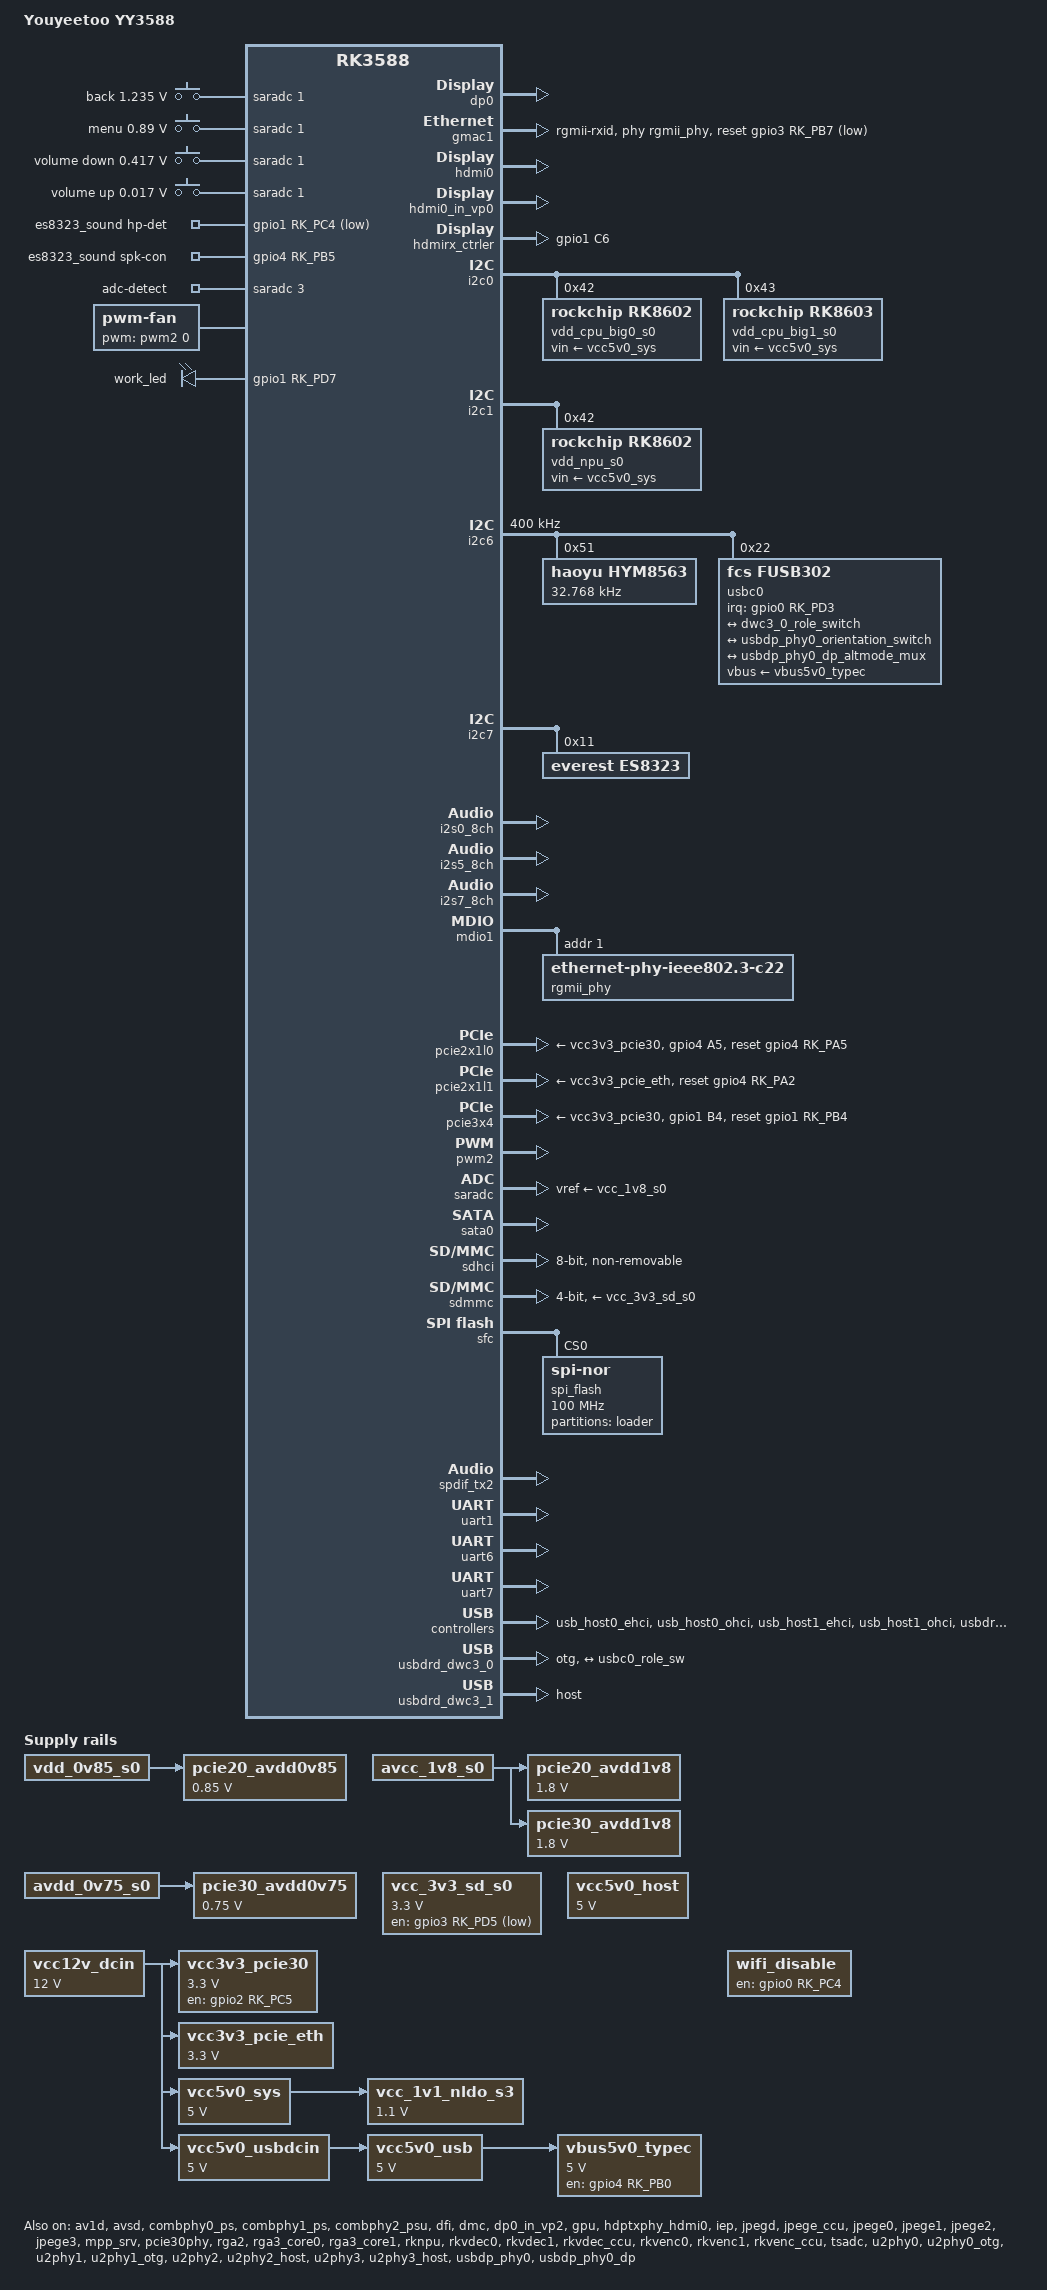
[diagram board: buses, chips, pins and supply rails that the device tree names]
// SPDX-License-Identifier: (GPL-2.0+ OR MIT)
/*
 * Copyright (c) 2021 Rockchip Electronics Co., Ltd.
 * Copyright (c) 2024 Youyeetoo
 */

/dts-v1/;

#include <dt-bindings/display/rockchip_vop.h>
#include <dt-bindings/gpio/gpio.h>
#include <dt-bindings/input/rk-input.h>
#include <dt-bindings/pinctrl/rockchip.h>
#include <dt-bindings/usb/pd.h>
#include "rk3588.dtsi"
#include "rk3588-rk806-single.dtsi"
#include "rk3588-linux.dtsi"

/ {
	model = "Youyeetoo YY3588";
	compatible = "youyeetoo,yy3588", "rockchip,rk3588";

	/delete-node/ chosen;

	aliases {
		ethernet0 = &r8125;
		ethernet1 = &gmac1;
		mmc0 = &sdhci;
		mmc1 = &sdmmc;
	};

	reserved-memory {
		#address-cells = <2>;
		#size-cells = <2>;
		ranges;

		/* Reserve 256MB memory for hdmirx-controller@fdee0000 */
		cma {
			compatible = "shared-dma-pool";
			linux,cma-default;
			reg = <0x0 (256 * 0x100000) 0x0 (256 * 0x100000)>;
			reusable;
		};
	};

	adc_keys: adc-keys {
		compatible = "adc-keys";
		io-channel-names = "buttons";
		io-channels = <&saradc 1>;
		keyup-threshold-microvolt = <1800000>;
		poll-interval = <100>;

		back-key {
			label = "back";
			linux,code = <KEY_BACK>;
			press-threshold-microvolt = <1235000>;
		};

		menu-key {
			label = "menu";
			linux,code = <KEY_MENU>;
			press-threshold-microvolt = <890000>;
		};

		vol-down-key {
			label = "volume down";
			linux,code = <KEY_VOLUMEDOWN>;
			press-threshold-microvolt = <417000>;
		};

		vol-up-key {
			label = "volume up";
			linux,code = <KEY_VOLUMEUP>;
			press-threshold-microvolt = <17000>;
		};
	};

	dp0_sound: dp0-sound {
		compatible = "rockchip,hdmi";
		rockchip,card-name = "rockchip-dp0";
		rockchip,codec = <&dp0 1>;
		rockchip,cpu = <&spdif_tx2>;
		rockchip,jack-det;
		rockchip,mclk-fs = <512>;
		status = "okay";
	};

	/* AUDIO - ES8388 chip, but only works with ES8323 driver */
	es8323_sound: es8323-sound {
		compatible = "rockchip,multicodecs-card";
		hp-det-gpio = <&gpio1 RK_PC4 GPIO_ACTIVE_LOW>;
		io-channel-names = "adc-detect";
		io-channels = <&saradc 3>;
		keyup-threshold-microvolt = <1800000>;
		pinctrl-names = "default";
		pinctrl-0 = <&hp_det>;
		poll-interval = <100>;
		rockchip,audio-routing =
			"Headphone", "LOUT2",
			"Headphone", "ROUT2",
			"Speaker", "LOUT1",
			"Speaker", "ROUT1",
			"Headphone", "Headphone Power",
			"Headphone", "Headphone Power",
			"Speaker", "Speaker Power",
			"Speaker", "Speaker Power",
			"LINPUT1", "Main Mic",
			"LINPUT2", "Main Mic",
			"RINPUT1", "Headset Mic",
			"RINPUT2", "Headset Mic";
		rockchip,card-name = "rockchip-es8323";
		rockchip,codec = <&es8323>;
		rockchip,cpu = <&i2s0_8ch>;
		rockchip,format = "i2s";
		rockchip,mclk-fs = <256>;
		spk-con-gpio = <&gpio4 RK_PB5 GPIO_ACTIVE_HIGH>;
		status = "okay";

		play-pause-key {
			label = "playpause";
			linux,code = <KEY_PLAYPAUSE>;
			press-threshold-microvolt = <2000>;
		};
	};

	fan: pwm-fan {
		compatible = "pwm-fan";
		#cooling-cells = <2>;
		cooling-levels = <0 50 100 150 200 255>;
		pwms = <&pwm2 0 50000 0>;
	};

	hdmi0_sound: hdmi0-sound {
		compatible = "rockchip,hdmi";
		rockchip,card-name = "rockchip-hdmi0";
		rockchip,codec = <&hdmi0>;
		rockchip,cpu = <&i2s5_8ch>;
		rockchip,jack-det;
		rockchip,mclk-fs = <128>;
		status = "okay";
	};

	hdmiin_sound: hdmiin-sound {
		compatible = "rockchip,hdmi";
		rockchip,bitclock-master = <&hdmirx_ctrler>;
		rockchip,card-name = "rockchip,hdmiin";
		rockchip,codec = <&hdmirx_ctrler 0>;
		rockchip,cpu = <&i2s7_8ch>;
		rockchip,format = "i2s";
		rockchip,frame-master = <&hdmirx_ctrler>;
		rockchip,jack-det;
		rockchip,mclk-fs = <128>;
	};

	leds: gpio-leds {
		compatible = "gpio-leds";
		pinctrl-names = "default";
		pinctrl-0 = <&leds_rgb>;

		work_led {
			gpios = <&gpio1 RK_PD7 GPIO_ACTIVE_HIGH>;
			label = "work_led";
			linux,default-trigger = "heartbeat";
		};
	};

	pcie20_avdd0v85: pcie20-avdd0v85 {
		compatible = "regulator-fixed";
		regulator-always-on;
		regulator-boot-on;
		regulator-max-microvolt = <850000>;
		regulator-min-microvolt = <850000>;
		regulator-name = "pcie20_avdd0v85";
		vin-supply = <&vdd_0v85_s0>;
	};

	pcie20_avdd1v8: pcie20-avdd1v8 {
		compatible = "regulator-fixed";
		regulator-always-on;
		regulator-boot-on;
		regulator-max-microvolt = <1800000>;
		regulator-min-microvolt = <1800000>;
		regulator-name = "pcie20_avdd1v8";
		vin-supply = <&avcc_1v8_s0>;
	};

	pcie30_avdd0v75: pcie30-avdd0v75 {
		compatible = "regulator-fixed";
		regulator-always-on;
		regulator-boot-on;
		regulator-max-microvolt = <750000>;
		regulator-min-microvolt = <750000>;
		regulator-name = "pcie30_avdd0v75";
		vin-supply = <&avdd_0v75_s0>;
	};

	pcie30_avdd1v8: pcie30-avdd1v8 {
		compatible = "regulator-fixed";
		regulator-always-on;
		regulator-boot-on;
		regulator-max-microvolt = <1800000>;
		regulator-min-microvolt = <1800000>;
		regulator-name = "pcie30_avdd1v8";
		vin-supply = <&avcc_1v8_s0>;
	};

	vbus5v0_typec: vbus5v0-typec {
		compatible = "regulator-fixed";
		enable-active-high;
		gpio = <&gpio4 RK_PB0 GPIO_ACTIVE_HIGH>;
		pinctrl-names = "default";
		pinctrl-0 = <&typec5v_pwren>;
		regulator-max-microvolt = <5000000>;
		regulator-min-microvolt = <5000000>;
		regulator-name = "vbus5v0_typec";
		vin-supply = <&vcc5v0_usb>;
	};

	vcc_1v1_nldo_s3: vcc-1v1-nldo-s3 {
		compatible = "regulator-fixed";
		regulator-always-on;
		regulator-boot-on;
		regulator-max-microvolt = <1100000>;
		regulator-min-microvolt = <1100000>;
		regulator-name = "vcc_1v1_nldo_s3";
		vin-supply = <&vcc5v0_sys>;
	};

	vcc_3v3_sd_s0: vcc-3v3-sd-s0 {
		compatible = "regulator-fixed";
		enable-active-low;
		gpios = <&gpio3 RK_PD5 GPIO_ACTIVE_LOW>;
		pinctrl-names = "default";
		pinctrl-0 = <&sdmmc_pwr>;
		regulator-max-microvolt = <3300000>;
		regulator-min-microvolt = <3300000>;
		regulator-name = "vcc_3v3_sd_s0";
	};

	vcc3v3_pcie30: vcc3v3-pcie30 {
		compatible = "regulator-fixed";
		enable-active-high;
		gpios = <&gpio2 RK_PC5 GPIO_ACTIVE_HIGH>;
		regulator-max-microvolt = <3300000>;
		regulator-min-microvolt = <3300000>;
		regulator-name = "vcc3v3_pcie30";
		startup-delay-us = <5000>;
		vin-supply = <&vcc12v_dcin>;
	};

	vcc3v3_pcie_eth: vcc3v3-pcie-eth {
		compatible = "regulator-fixed";
		/* NOTE: GPIO3_PB4 conflicts with gmac1_txd1 pin!
		 * Removed GPIO control - regulator is always-on anyway.
		 * If PCIe ethernet stops working, the hardware may need
		 * a different GPIO or external control for this supply.
		 */
		regulator-always-on;
		regulator-boot-on;
		regulator-max-microvolt = <3300000>;
		regulator-min-microvolt = <3300000>;
		regulator-name = "vcc3v3_pcie_eth";
		vin-supply = <&vcc12v_dcin>;
	};

	vcc5v0_host: vcc5v0-host {
		compatible = "regulator-fixed";
		enable-active-high;
		regulator-always-on;
		regulator-boot-on;
		regulator-max-microvolt = <5000000>;
		regulator-min-microvolt = <5000000>;
		regulator-name = "vcc5v0_host";
	};

	vcc5v0_sys: vcc5v0-sys {
		compatible = "regulator-fixed";
		regulator-always-on;
		regulator-boot-on;
		regulator-max-microvolt = <5000000>;
		regulator-min-microvolt = <5000000>;
		regulator-name = "vcc5v0_sys";
		vin-supply = <&vcc12v_dcin>;
	};

	vcc5v0_usb: vcc5v0-usb {
		compatible = "regulator-fixed";
		regulator-always-on;
		regulator-boot-on;
		regulator-max-microvolt = <5000000>;
		regulator-min-microvolt = <5000000>;
		regulator-name = "vcc5v0_usb";
		vin-supply = <&vcc5v0_usbdcin>;
	};

	vcc5v0_usbdcin: vcc5v0-usbdcin {
		compatible = "regulator-fixed";
		regulator-always-on;
		regulator-boot-on;
		regulator-max-microvolt = <5000000>;
		regulator-min-microvolt = <5000000>;
		regulator-name = "vcc5v0_usbdcin";
		vin-supply = <&vcc12v_dcin>;
	};

	vcc12v_dcin: vcc12v-dcin {
		compatible = "regulator-fixed";
		regulator-always-on;
		regulator-boot-on;
		regulator-max-microvolt = <12000000>;
		regulator-min-microvolt = <12000000>;
		regulator-name = "vcc12v_dcin";
	};

	wifi_disable: wifi-disable-gpio-regulator {
		compatible = "regulator-fixed";
		enable-active-high;
		gpio = <&gpio0 RK_PC4 GPIO_ACTIVE_HIGH>;
		regulator-always-on;
		regulator-boot-on;
		regulator-name = "wifi_disable";
	};
};

&av1d {
	status = "okay";
};

&av1d_mmu {
	status = "okay";
};

&avsd {
	status = "okay";
};

&combphy0_ps {
	status = "okay";
};

&combphy1_ps {
	status = "okay";
};

&combphy2_psu {
	status = "okay";
};

&cpu_b0 {
	cpu-supply = <&vdd_cpu_big0_s0>;
	mem-supply = <&vdd_cpu_big0_mem_s0>;
};

&cpu_b2 {
	cpu-supply = <&vdd_cpu_big1_s0>;
	mem-supply = <&vdd_cpu_big1_mem_s0>;
};

&cpu_l0 {
	cpu-supply = <&vdd_cpu_lit_s0>;
	mem-supply = <&vdd_cpu_lit_mem_s0>;
};

&dfi {
	status = "okay";
};

&display_subsystem {
	clock-names = "hdmi0_phy_pll", "hdmi1_phy_pll";
	clocks = <&hdptxphy_hdmi0>, <&hdptxphy_hdmi1>;
};

&dmc {
	center-supply = <&vdd_ddr_s0>;
	mem-supply = <&vdd_log_s0>;
	status = "okay";
};

&dp0 {
	status = "okay";
};

&dp0_in_vp0 {
	status = "disabled";
};

&dp0_in_vp1 {
	status = "disabled";
};

&dp0_in_vp2 {
	status = "okay";
};

&gmac1 {
	/* Use rgmii-rxid mode to disable rx delay inside Soc */
	phy-mode = "rgmii-rxid";
	clock_in_out = "output";

	snps,reset-gpio = <&gpio3 RK_PB7 GPIO_ACTIVE_LOW>;
	snps,reset-active-low;
	/* Reset time is 20ms, 100ms for rtl8211f */
	snps,reset-delays-us = <0 20000 100000>;

	pinctrl-names = "default";
	pinctrl-0 = <&gmac1_miim
			 &gmac1_tx_bus2
			 &gmac1_rx_bus2
			 &gmac1_rgmii_clk
			 &gmac1_rgmii_bus>;

	tx_delay = <0x43>;
	/* rx_delay = <0x4f>; */

	phy-handle = <&rgmii_phy>;
	status = "okay";
};

&gpu {
	mali-supply = <&vdd_gpu_s0>;
	mem-supply = <&vdd_gpu_mem_s0>;
	status = "okay";
};

&hdmi0 {
	cec-enable = "true";
	enable-gpios = <&gpio4 RK_PB1 GPIO_ACTIVE_HIGH>;
	status = "okay";
};

&hdmi0_in_vp0 {
	status = "okay";
};

&hdmi0_in_vp1 {
	status = "disabled";
};

&hdmi0_in_vp2 {
	status = "disabled";
};

/* Should work with at least 256MB cma reserved above. */
&hdmirx_ctrler {
	#sound-dai-cells = <1>;
	hdmirx-det-gpios = <&gpio1 RK_PC6 GPIO_ACTIVE_LOW>;
	hpd-trigger-level = <1>;
	pinctrl-names = "default";
	pinctrl-0 = <&hdmim1_rx_cec &hdmim1_rx_hpdin &hdmim1_rx_scl &hdmim1_rx_sda &hdmirx_det>;
	status = "okay";
};

&hdptxphy_hdmi0 {
	status = "okay";
};

&i2c0 {
	pinctrl-names = "default";
	pinctrl-0 = <&i2c0m2_xfer>;
	status = "okay";

	vdd_cpu_big0_s0: vdd_cpu_big0_mem_s0: rk8602@42 {
		compatible = "rockchip,rk8602";
		reg = <0x42>;
		regulator-always-on;
		regulator-boot-on;
		regulator-compatible = "rk860x-reg";
		regulator-max-microvolt = <1050000>;
		regulator-min-microvolt = <550000>;
		regulator-name = "vdd_cpu_big0_s0";
		regulator-ramp-delay = <2300>;
		rockchip,suspend-voltage-selector = <1>;
		vin-supply = <&vcc5v0_sys>;

		regulator-state-mem {
			regulator-off-in-suspend;
		};
	};

	vdd_cpu_big1_s0: vdd_cpu_big1_mem_s0: rk8603@43 {
		compatible = "rockchip,rk8603";
		reg = <0x43>;
		regulator-always-on;
		regulator-boot-on;
		regulator-compatible = "rk860x-reg";
		regulator-max-microvolt = <1050000>;
		regulator-min-microvolt = <550000>;
		regulator-name = "vdd_cpu_big1_s0";
		regulator-ramp-delay = <2300>;
		rockchip,suspend-voltage-selector = <1>;
		vin-supply = <&vcc5v0_sys>;

		regulator-state-mem {
			regulator-off-in-suspend;
		};
	};
};

&i2c1 {
	pinctrl-names = "default";
	pinctrl-0 = <&i2c1m2_xfer>;
	status = "okay";

	vdd_npu_s0: vdd_npu_mem_s0: rk8602@42 {
		compatible = "rockchip,rk8602";
		reg = <0x42>;
		regulator-always-on;
		regulator-boot-on;
		regulator-compatible = "rk860x-reg";
		regulator-max-microvolt = <950000>;
		regulator-min-microvolt = <550000>;
		regulator-name = "vdd_npu_s0";
		regulator-ramp-delay = <2300>;
		rockchip,suspend-voltage-selector = <1>;
		vin-supply = <&vcc5v0_sys>;

		regulator-state-mem {
			regulator-off-in-suspend;
		};
	};
};

&i2c6 {
	clock-frequency = <400000>;
	pinctrl-names = "default";
	pinctrl-0 = <&i2c6m0_xfer>;
	status = "okay";

	hym8563: hym8563@51 {
		compatible = "haoyu,hym8563";
		reg = <0x51>;
		#clock-cells = <0>;
		clock-frequency = <32768>;
		clock-output-names = "hym8563";
		status = "okay";
	};

	usbc0: fusb302@22 {
		compatible = "fcs,fusb302";
		reg = <0x22>;
		interrupt-parent = <&gpio0>;
		interrupts = <RK_PD3 IRQ_TYPE_LEVEL_LOW>;
		pinctrl-names = "default";
		pinctrl-0 = <&usbc0_int>;
		status = "okay";
		vbus-supply = <&vbus5v0_typec>;

		ports {
			#address-cells = <1>;
			#size-cells = <0>;

			port@0 {
				reg = <0>;

				usbc0_role_sw: endpoint@0 {
					remote-endpoint = <&dwc3_0_role_switch>;
				};
			};
		};

		usb_con: connector {
			compatible = "usb-c-connector";
			data-role = "dual";
			label = "USB-C";
			op-sink-microwatt = <1000000>;
			power-role = "dual";
			sink-pdos = <PDO_FIXED(5000, 1000, PDO_FIXED_USB_COMM)>;
			source-pdos = <PDO_FIXED(5000, 3000, PDO_FIXED_USB_COMM)>;
			try-power-role = "sink";

			altmodes {
				#address-cells = <1>;
				#size-cells = <0>;

				altmode@0 {
					reg = <0>;
					svid = <0xff01>;
					vdo = <0xffffffff>;
				};
			};

			ports {
				#address-cells = <1>;
				#size-cells = <0>;

				port@0 {
					reg = <0>;

					usbc0_orien_sw: endpoint {
						remote-endpoint = <&usbdp_phy0_orientation_switch>;
					};
				};

				port@1 {
					reg = <1>;

					dp_altmode_mux: endpoint {
						remote-endpoint = <&usbdp_phy0_dp_altmode_mux>;
					};
				};
			};
		};
	};
};

&i2c7 {
	status = "okay";

	/* Audio codec: ES8388 chip, but only works with ES8323 driver */
	es8323: es8323@11 {
		compatible = "everest,es8323";
		reg = <0x11>;
		#sound-dai-cells = <0>;
		assigned-clock-rates = <12288000>;
		assigned-clocks = <&mclkout_i2s0>;
		clock-names = "mclk";
		clocks = <&mclkout_i2s0>;
		pinctrl-names = "default";
		pinctrl-0 = <&i2s0_mclk>;
		status = "okay";
	};
};

&i2s0_8ch {
	pinctrl-names = "default";
	pinctrl-0 = <&i2s0_lrck
		     &i2s0_sclk
		     &i2s0_sdi0
		     &i2s0_sdo0>;
	status = "okay";
};

&i2s5_8ch {
	status = "okay";
};

&i2s7_8ch {
	status = "okay";
};

&iep {
	status = "okay";
};

&iep_mmu {
	status = "okay";
};

&jpegd {
	status = "okay";
};

&jpegd_mmu {
	status = "okay";
};

&jpege_ccu {
	status = "okay";
};

&jpege0 {
	status = "okay";
};

&jpege0_mmu {
	status = "okay";
};

&jpege1 {
	status = "okay";
};

&jpege1_mmu {
	status = "okay";
};

&jpege2 {
	status = "okay";
};

&jpege2_mmu {
	status = "okay";
};

&jpege3 {
	status = "okay";
};

&jpege3_mmu {
	status = "okay";
};

&mdio1 {
	rgmii_phy: phy@1 {
		compatible = "ethernet-phy-ieee802.3-c22";
		reg = <0x1>;
	};
};

&mpp_srv {
	status = "okay";
};

/* PCIe 2.0 x1 - WiFi slot */
&pcie2x1l0 {
	pinctrl-names = "default";
	pinctrl-0 = <&pcie_wifi_pinctl>;
	reset-gpios = <&gpio4 RK_PA5 GPIO_ACTIVE_HIGH>;
	status = "okay";
	vpcie3v3-supply = <&vcc3v3_pcie30>;
};

/* PCIe 2.0 x1 - RTL8125 2.5GbE */
&pcie2x1l1 {
	reset-gpios = <&gpio4 RK_PA2 GPIO_ACTIVE_HIGH>;
	rockchip,init-delay-ms = <500>;
	status = "okay";
	vpcie3v3-supply = <&vcc3v3_pcie_eth>;

	pcie@0,0 {
		reg = <0x00100000 0 0 0 0>;
		#address-cells = <3>;
		#size-cells = <2>;

		r8125: pcie@10,0 {
			reg = <0x000000 0 0 0 0>;
			local-mac-address = [ 00 00 00 00 00 00 ];
		};
	};
};

&pcie30phy {
	rockchip,pcie30-phymode = <PHY_MODE_PCIE_AGGREGATION>;
	status = "okay";
};

/* PCIe 3.0 x4 */
&pcie3x4 {
	pinctrl-names = "default";
	pinctrl-0 = <&pcie30x4_clkreqn_m1>;
	reset-gpios = <&gpio1 RK_PB4 GPIO_ACTIVE_HIGH>;
	status = "okay";
	vpcie3v3-supply = <&vcc3v3_pcie30>;
};

&pinctrl {
	hdmi {
		hdmirx_det: hdmirx-det {
			rockchip,pins = <1 RK_PC6 RK_FUNC_GPIO &pcfg_pull_up>;
		};
	};

	headphone {
		hp_det: hp-det {
			rockchip,pins =
				<1 RK_PC4 RK_FUNC_GPIO &pcfg_pull_down>,
				<4 RK_PB5 RK_FUNC_GPIO &pcfg_pull_down>;
		};
	};

	leds_gpio {
		leds_rgb: leds-rgb {
			rockchip,pins =
				<1 RK_PD6 RK_FUNC_GPIO &pcfg_pull_down>,
				<1 RK_PD7 RK_FUNC_GPIO &pcfg_pull_down>;
		};
	};

	pcie {
		pcie30x4_clkreqn_m1: pcie30x4-clkreqn-m1 {
			rockchip,pins = <1 RK_PB4 RK_FUNC_GPIO &pcfg_pull_up>;
		};
	};

	rtl8125 {
		pcie_wifi_pinctl: pcie-wifi-pinctl {
			rockchip,pins = <4 RK_PA5 RK_FUNC_GPIO &pcfg_pull_up>;
		};

		rtl8125_isolate: rtl8125-isolate {
			rockchip,pins = <4 RK_PA2 RK_FUNC_GPIO &pcfg_pull_up>;
		};
	};

	sdmmc {
		sdmmc_pwr: sdmmc-pwr {
			rockchip,pins = <3 RK_PD5 RK_FUNC_GPIO &pcfg_pull_down>;
		};
	};

	usb-typec {
		typec5v_pwren: typec5v-pwren {
			rockchip,pins = <4 RK_PB0 RK_FUNC_GPIO &pcfg_pull_none>;
		};

		usbc0_int: usbc0-int {
			rockchip,pins = <0 RK_PD3 RK_FUNC_GPIO &pcfg_pull_up>;
		};
	};
};

&pwm2 {
	pinctrl-names = "active";
	pinctrl-0 = <&pwm2m2_pins>;
	status = "okay";
};

&rga2 {
	status = "okay";
};

&rga3_0_mmu {
	status = "okay";
};

&rga3_1_mmu {
	status = "okay";
};

&rga3_core0 {
	status = "okay";
};

&rga3_core1 {
	status = "okay";
};

&rknpu {
	mem-supply = <&vdd_npu_mem_s0>;
	rknpu-supply = <&vdd_npu_s0>;
	status = "okay";
};

&rknpu_mmu {
	status = "okay";
};

&rkvdec0 {
	status = "okay";
};

&rkvdec0_mmu {
	status = "okay";
};

&rkvdec1 {
	status = "okay";
};

&rkvdec1_mmu {
	status = "okay";
};

&rkvdec_ccu {
	status = "okay";
};

&rkvenc0 {
	status = "okay";
};

&rkvenc0_mmu {
	status = "okay";
};

&rkvenc1 {
	status = "okay";
};

&rkvenc1_mmu {
	status = "okay";
};

&rkvenc_ccu {
	status = "okay";
};

&rockchip_suspend {
	compatible = "rockchip,pm-rk3588";
	rockchip,sleep-debug-en = <1>;
	status = "okay";
};

&saradc {
	status = "okay";
	vref-supply = <&vcc_1v8_s0>;
};

&sata0 {
	status = "okay";
};

&sdhci {
	bus-width = <8>;
	max-frequency = <200000000>;
	mmc-hs400-1_8v;
	mmc-hs400-enhanced-strobe;
	no-sd;
	no-sdio;
	non-removable;
	status = "okay";
};

&sdmmc {
	bus-width = <4>;
	cap-mmc-highspeed;
	cap-sd-highspeed;
	disable-wp;
	max-frequency = <150000000>;
	no-mmc;
	no-sdio;
	sd-uhs-sdr104;
	status = "okay";
	vmmc-supply = <&vcc_3v3_sd_s0>;
	vqmmc-supply = <&vccio_sd_s0>;
};

&sfc {
	#address-cells = <1>;
	#size-cells = <0>;
	max-freq = <100000000>;
	pinctrl-names = "default";
	pinctrl-0 = <&fspim1_pins>;
	status = "okay";

	spi_flash: spi-flash@0 {
		compatible = "jedec,spi-nor";
		reg = <0x0>;
		#address-cells = <1>;
		#size-cells = <0>;
		spi-max-frequency = <100000000>;
		spi-rx-bus-width = <4>;
		spi-tx-bus-width = <1>;
		status = "okay";

		partitions {
			compatible = "fixed-partitions";
			#address-cells = <1>;
			#size-cells = <1>;

			loader@0 {
				label = "loader";
				reg = <0x0 0x1000000>;
			};
		};
	};
};

&spdif_tx2 {
	status = "okay";
};

&tsadc {
	status = "okay";
};

&u2phy0 {
	status = "okay";
};

&u2phy0_otg {
	rockchip,typec-vbus-det;
	status = "okay";
};

&u2phy1 {
	status = "okay";
};

&u2phy1_otg {
	phy-supply = <&vcc5v0_host>;
	status = "okay";
};

&u2phy2 {
	status = "okay";
};

&u2phy2_host {
	phy-supply = <&vcc5v0_host>;
	status = "okay";
};

&u2phy3 {
	status = "okay";
};

&u2phy3_host {
	phy-supply = <&vcc5v0_host>;
	status = "okay";
};

&uart1 {
	pinctrl-names = "default";
	pinctrl-0 = <&uart1m0_xfer>;
	status = "okay";
};

&uart6 {
	pinctrl-names = "default";
	pinctrl-0 = <&uart6m0_xfer>;
	status = "okay";
};

&uart7 {
	pinctrl-names = "default";
	pinctrl-0 = <&uart7m0_xfer>;
	status = "okay";
};

&usb_host0_ehci {
	status = "okay";
};

&usb_host0_ohci {
	status = "okay";
};

&usb_host1_ehci {
	status = "okay";
};

&usb_host1_ohci {
	status = "okay";
};

&usbdp_phy0 {
	orientation-switch;
	sbu1-dc-gpios = <&gpio4 RK_PA6 GPIO_ACTIVE_HIGH>;
	sbu2-dc-gpios = <&gpio4 RK_PA7 GPIO_ACTIVE_HIGH>;
	status = "okay";
	svid = <0xff01>;

	port {
		#address-cells = <1>;
		#size-cells = <0>;

		usbdp_phy0_orientation_switch: endpoint@0 {
			reg = <0>;
			remote-endpoint = <&usbc0_orien_sw>;
		};

		usbdp_phy0_dp_altmode_mux: endpoint@1 {
			reg = <1>;
			remote-endpoint = <&dp_altmode_mux>;
		};
	};
};

&usbdp_phy0_dp {
	status = "okay";
};

&usbdp_phy0_u3 {
	status = "okay";
};

&usbdp_phy1 {
	rockchip,dp-lane-mux = <2 3>;
	status = "okay";
};

&usbdp_phy1_dp {
	status = "okay";
};

&usbdp_phy1_u3 {
	status = "okay";
};

&usbdrd3_0 {
	status = "okay";
};

&usbdrd3_1 {
	status = "okay";
};

&usbdrd_dwc3_0 {
	dr_mode = "otg";
	status = "okay";
	usb-role-switch;

	port {
		#address-cells = <1>;
		#size-cells = <0>;

		dwc3_0_role_switch: endpoint@0 {
			reg = <0>;
			remote-endpoint = <&usbc0_role_sw>;
		};
	};
};

&usbdrd_dwc3_1 {
	dr_mode = "host";
	status = "okay";
};

&vdpu {
	status = "okay";
};

&vdpu_mmu {
	status = "okay";
};

&vepu {
	status = "okay";
};

&vop {
	status = "okay";
};

&vop_mmu {
	status = "okay";
};

/* vp0 & vp1 splice for 8K output */
&vp0 {
	cursor-win-id = <ROCKCHIP_VOP2_ESMART0>;
	rockchip,plane-mask = <(1 << ROCKCHIP_VOP2_CLUSTER0 | 1 << ROCKCHIP_VOP2_ESMART0)>;
	rockchip,primary-plane = <ROCKCHIP_VOP2_CLUSTER0>;
};

&vp1 {
	cursor-win-id = <ROCKCHIP_VOP2_ESMART1>;
	rockchip,plane-mask = <(1 << ROCKCHIP_VOP2_CLUSTER1 | 1 << ROCKCHIP_VOP2_ESMART1)>;
	rockchip,primary-plane = <ROCKCHIP_VOP2_CLUSTER1>;
};

&vp2 {
	cursor-win-id = <ROCKCHIP_VOP2_ESMART2>;
	rockchip,plane-mask = <(1 << ROCKCHIP_VOP2_CLUSTER2 | 1 << ROCKCHIP_VOP2_ESMART2)>;
	rockchip,primary-plane = <ROCKCHIP_VOP2_CLUSTER2>;
};

&vp3 {
	cursor-win-id = <ROCKCHIP_VOP2_ESMART3>;
	rockchip,plane-mask = <(1 << ROCKCHIP_VOP2_CLUSTER3 | 1 << ROCKCHIP_VOP2_ESMART3)>;
	rockchip,primary-plane = <ROCKCHIP_VOP2_CLUSTER3>;
};

&wdt {
	status = "okay";
};
